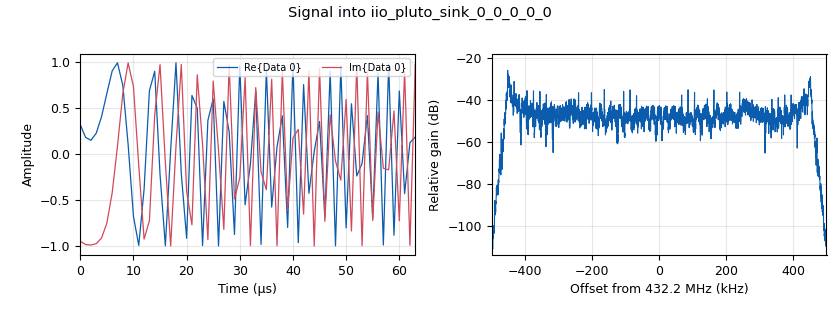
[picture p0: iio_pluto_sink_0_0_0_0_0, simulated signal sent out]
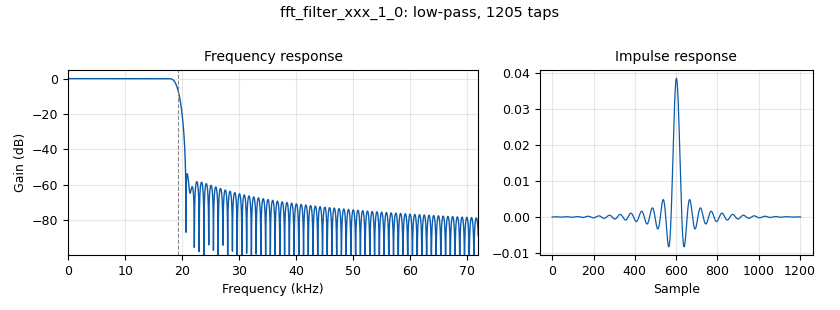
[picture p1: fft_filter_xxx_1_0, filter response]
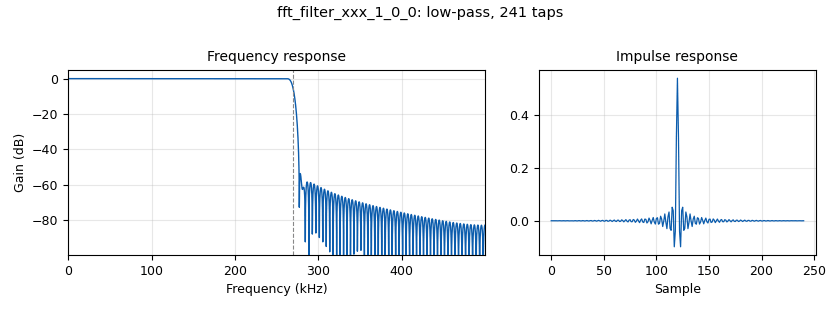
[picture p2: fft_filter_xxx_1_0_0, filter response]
options:
  parameters:
    author: wangt
    generate_options: qt_gui
    id: sim_gfsk_freqRange
    output_language: python
    title: Not titled yet
  states: {}

blocks:
- name: fc
  id: variable
  parameters:
    value: '433200000'
  states: {}
- name: fc_1
  id: variable
  parameters:
    value: '432200000'
  states: {}
- name: fc_2
  id: variable
  parameters:
    value: '432500000'
  states: {}
- name: fc_3
  id: variable
  parameters:
    value: '432800000'
  states: {}
- name: fc_blue
  id: variable
  parameters:
    value: '433920000'
  states: {}
- name: fc_blue_1
  id: variable
  parameters:
    value: '434920000'
  states: {}
- name: fc_blue_2
  id: variable
  parameters:
    value: '434620000'
  states: {}
- name: fc_blue_3
  id: variable
  parameters:
    value: '434320000'
  states: {}
- name: samp_rate
  id: variable
  parameters:
    value: '1000000'
  states: {}
- name: sensitivity_inf_1
  id: variable
  parameters:
    value: '2.8323'
  states: {}
- name: sensitivity_inf_2
  id: variable
  parameters:
    value: '2.5809'
  states: {}
- name: sensitivity_inf_3
  id: variable
  parameters:
    value: '0.6466'
  states: {}
- name: sensitivity_signal
  id: variable
  parameters:
    value: '1.5756'
  states: {}
- name: signal_bandwidth
  id: variable
  parameters:
    value: '240600'
  states: {}
- name: taps_lpf
  id: variable
  parameters:
    value: firdes.low_pass(1.0, samp_rate, 19230, 2000)
  states: {}
- name: taps_lpf_pre
  id: variable
  parameters:
    value: firdes.low_pass(1.0, samp_rate, 270000, 10000)
  states: {}
- name: analog_quadrature_demod_cf_0
  id: analog_quadrature_demod_cf
  parameters:
    gain: 1 / 1.5
  states: {}
- name: analog_quadrature_demod_cf_0_0
  id: analog_quadrature_demod_cf
  parameters:
    gain: 1 / 1.5
  states: {}
- name: analog_random_source_x_0
  id: analog_random_source_x
  parameters:
    max: '2'
    min: '0'
    num_samps: '1000'
    repeat: 'True'
    type: byte
  states: {}
- name: blocks_char_to_float_0_0
  id: blocks_char_to_float
  parameters:
    scale: '1'
  states: {}
- name: blocks_char_to_float_0_0_0
  id: blocks_char_to_float
  parameters:
    scale: '1'
  states: {}
- name: blocks_float_to_char_0
  id: blocks_float_to_char
  parameters:
    scale: '1'
  states: {}
- name: blocks_pack_k_bits_bb_0_0
  id: blocks_pack_k_bits_bb
  parameters:
    k: '8'
  states: {}
- name: blocks_pack_k_bits_bb_0_0_0_0_0
  id: blocks_pack_k_bits_bb
  parameters:
    k: '8'
  states: {}
- name: blocks_pack_k_bits_bb_0_0_1
  id: blocks_pack_k_bits_bb
  parameters:
    k: '8'
  states: {}
- name: digital_gfsk_mod_0
  id: digital_gfsk_mod
  parameters:
    bt: '0.35'
    samples_per_symbol: '52'
    sensitivity: sensitivity_signal
  states: {}
- name: digital_gfsk_mod_0_0_0_0
  id: digital_gfsk_mod
  parameters:
    bt: '0.35'
    samples_per_symbol: '52'
    sensitivity: sensitivity_inf_1
  states: {}
- name: digital_symbol_sync_xx_0
  id: digital_symbol_sync_xx
  parameters:
    damping: '1.0'
    loop_bw: '0.045'
    max_dev: '1.5'
    osps: '1'
    resamp_type: digital.IR_MMSE_8TAP
    sps: '52'
    ted_gain: '1.0'
    ted_type: digital.TED_MUELLER_AND_MULLER
    type: ff
  states: {}
- name: epy_block_0_0
  id: epy_block
  parameters:
    _source_code: |
      """
      Embedded Python Blocks:

      Each time this file is saved, GRC will instantiate the first class it finds
      to get ports and parameters of your block. The arguments to __init__  will
      be the parameters. All of them are required to have default values!
      """

      import numpy as np
      from gnuradio import gr


      class blk(
          gr.sync_block
      ):  # other base classes are basic_block, decim_block, interp_block
          """Embedded Python Block example - a simple multiply const"""

          def __init__(self):
              """arguments to this function show up as parameters in GRC"""
              gr.sync_block.__init__(
                  self,
                  name="Hard Decision",  # will show up in GRC
                  in_sig=[np.float32],
                  out_sig=[np.float32],
              )

          def work(self, input_items, output_items):
              """example: multiply with constant"""
              output_items[0][:] = (input_items[0] > 0).astype(np.int8)
              return len(output_items[0])
    comment: 符号判决
  states: {}
- name: fft_filter_xxx_1_0
  id: fft_filter_xxx
  parameters:
    decim: '1'
    taps: taps_lpf
    type: fff
  states: {}
- name: fft_filter_xxx_1_0_0
  id: fft_filter_xxx
  parameters:
    decim: '1'
    taps: taps_lpf_pre
    type: ccc
  states: {}
- name: iio_pluto_sink_0
  id: iio_pluto_sink
  parameters:
    attenuation1: '0'
    bandwidth: signal_bandwidth
    buffer_size: '3276800'
    cyclic: 'True'
    filter_source: '''Auto'''
    frequency: fc
    samplerate: samp_rate
    type: fc32
    uri: 192.168.2.3
  states: {}
- name: iio_pluto_sink_0_0_0_0_0
  id: iio_pluto_sink
  parameters:
    attenuation1: '0'
    bandwidth: signal_bandwidth
    buffer_size: '327680'
    cyclic: 'True'
    filter_source: '''Auto'''
    frequency: fc_1
    samplerate: samp_rate
    type: fc32
    uri: pluto.local
  states: {}
- name: iio_pluto_source_0
  id: iio_pluto_source
  parameters:
    bandwidth: signal_bandwidth
    bbdc: 'True'
    buffer_size: '32768'
    filter_source: '''Auto'''
    frequency: fc
    gain1: '''slow_attack'''
    quadrature: 'True'
    rfdc: 'True'
    samplerate: samp_rate
    type: fc32
    uri: 192.168.2.3
  states: {}
- name: qtgui_freq_sink_x_0
  id: qtgui_freq_sink_x
  parameters:
    bw: samp_rate
    fc: '0'
    fftsize: '1024'
    nconnections: '2'
    type: complex
    ymax: '-30'
    ymin: '-100'
  states: {}
- name: qtgui_time_sink_x_0
  id: qtgui_time_sink_x
  parameters:
    autoscale: 'True'
    ctrlpanel: 'True'
    name: rx
    nconnections: '2'
    size: '1024'
    srate: samp_rate
    type: float
  states: {}
- name: qtgui_time_sink_x_0_0
  id: qtgui_time_sink_x
  parameters:
    ctrlpanel: 'True'
    name: tx
    nconnections: '2'
    size: '1024'
    srate: samp_rate
    type: float
  states: {}
- name: qtgui_time_sink_x_0_0_0_0
  id: qtgui_time_sink_x
  parameters:
    autoscale: 'True'
    ctrlpanel: 'True'
    name: filtered
    size: '1024'
    srate: samp_rate
    type: float
  states: {}
- name: qtgui_time_sink_x_0_0_0_1_0
  id: qtgui_time_sink_x
  parameters:
    autoscale: 'True'
    ctrlpanel: 'True'
    name: raw
    nconnections: '2'
    size: '1024'
    srate: samp_rate
    type: float
  states: {}
- name: zeromq_pub_sink_0_0
  id: zeromq_pub_sink
  parameters:
    address: tcp://127.0.0.1:2236
    timeout: '100'
    type: byte
  states: {}
- name: zeromq_sub_source_0
  id: zeromq_sub_source
  parameters:
    address: tcp://127.0.0.1:2234
    timeout: '100'
    type: byte
  states: {}

connections:
- [analog_quadrature_demod_cf_0, '0', fft_filter_xxx_1_0, '0']
- [analog_quadrature_demod_cf_0, '0', qtgui_time_sink_x_0_0_0_1_0, '1']
- [analog_quadrature_demod_cf_0_0, '0', qtgui_time_sink_x_0_0_0_1_0, '0']
- [analog_random_source_x_0, '0', blocks_char_to_float_0_0_0, '0']
- [analog_random_source_x_0, '0', blocks_pack_k_bits_bb_0_0_0_0_0, '0']
- [blocks_char_to_float_0_0, '0', qtgui_time_sink_x_0_0, '0']
- [blocks_char_to_float_0_0_0, '0', qtgui_time_sink_x_0_0, '1']
- [blocks_float_to_char_0, '0', blocks_pack_k_bits_bb_0_0_1, '0']
- [blocks_pack_k_bits_bb_0_0, '0', blocks_char_to_float_0_0, '0']
- [blocks_pack_k_bits_bb_0_0, '0', digital_gfsk_mod_0, '0']
- [blocks_pack_k_bits_bb_0_0_0_0_0, '0', digital_gfsk_mod_0_0_0_0, '0']
- [blocks_pack_k_bits_bb_0_0_1, '0', zeromq_pub_sink_0_0, '0']
- [digital_gfsk_mod_0, '0', iio_pluto_sink_0, '0']
- [digital_gfsk_mod_0_0_0_0, '0', iio_pluto_sink_0_0_0_0_0, '0']
- [digital_symbol_sync_xx_0, '0', epy_block_0_0, '0']
- [digital_symbol_sync_xx_0, '0', qtgui_time_sink_x_0, '0']
- [epy_block_0_0, '0', blocks_float_to_char_0, '0']
- [epy_block_0_0, '0', qtgui_time_sink_x_0, '1']
- [fft_filter_xxx_1_0, '0', digital_symbol_sync_xx_0, '0']
- [fft_filter_xxx_1_0, '0', qtgui_time_sink_x_0_0_0_0, '0']
- [fft_filter_xxx_1_0_0, '0', analog_quadrature_demod_cf_0, '0']
- [fft_filter_xxx_1_0_0, '0', qtgui_freq_sink_x_0, '1']
- [iio_pluto_source_0, '0', analog_quadrature_demod_cf_0_0, '0']
- [iio_pluto_source_0, '0', fft_filter_xxx_1_0_0, '0']
- [iio_pluto_source_0, '0', qtgui_freq_sink_x_0, '0']
- [zeromq_sub_source_0, '0', blocks_pack_k_bits_bb_0_0, '0']

metadata:
  file_format: 1
  grc_version: 3.10.12.0
